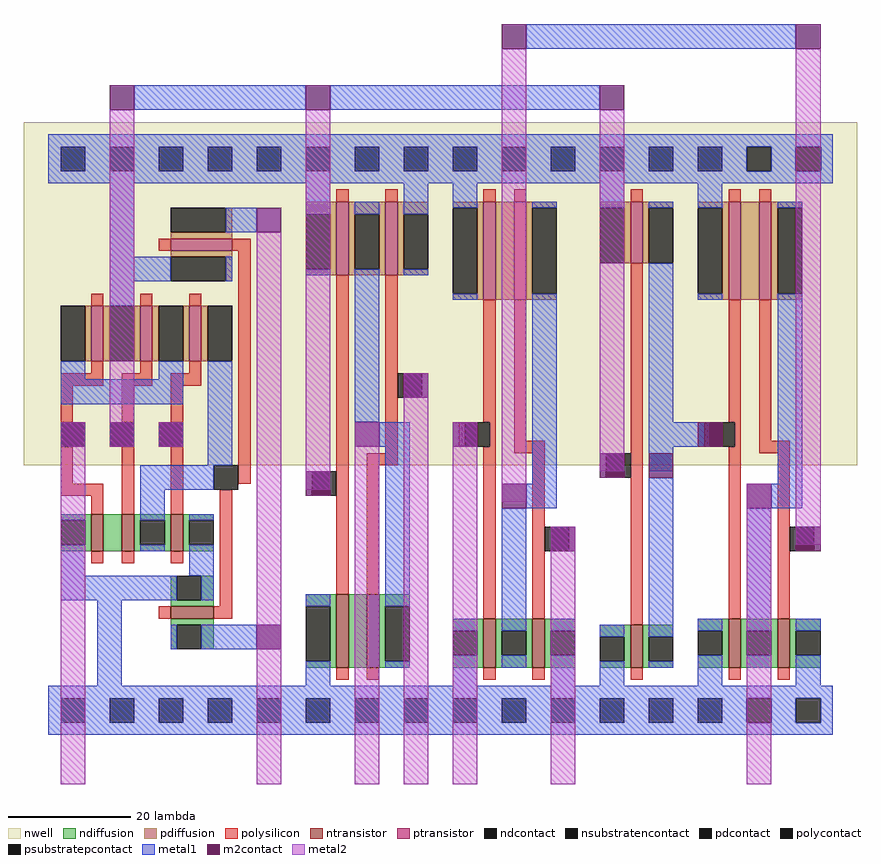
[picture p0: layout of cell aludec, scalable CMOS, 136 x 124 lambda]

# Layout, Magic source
magic
tech scmos
<< metal1 >>
rect 76 108 120 112
rect 12 98 40 102
rect 44 98 88 102
rect -2 86 110 94
rect 96 43 107 47
rect 96 39 100 43
rect -2 -4 110 4
<< m2contact >>
rect 72 108 76 112
rect 120 108 124 112
rect 8 98 12 102
rect 40 98 44 102
rect 88 98 92 102
<< metal2 >>
rect 0 -12 4 47
rect 8 43 12 98
rect 16 43 20 47
rect 32 -12 36 50
rect 40 36 44 98
rect 48 -12 52 47
rect 56 -12 60 55
rect 64 -12 68 47
rect 72 34 76 108
rect 88 39 92 98
rect 80 -12 84 30
rect 112 -12 116 37
rect 120 27 124 108
use a2o1_1x  a2o1_1x_0
transform 1 0 0 0 1 0
box -6 -4 42 96
use nand2_1x  nand2_1x_0
transform 1 0 40 0 1 0
box -6 -4 26 96
use nor2_1x  nor2_1x_0
transform 1 0 64 0 1 0
box -6 -4 26 96
use inv_1x  inv_1x_0
transform 1 0 88 0 1 0
box -6 -4 18 96
use nor2_1x  nor2_1x_1
transform 1 0 104 0 1 0
box -6 -4 26 96
<< end >>

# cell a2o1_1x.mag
magic
tech scmos
<< nwell >>
rect -6 40 42 96
<< ntransistor >>
rect 5 26 7 32
rect 10 26 12 32
rect 18 26 20 32
rect 18 15 25 17
<< ptransistor >>
rect 18 75 28 77
rect 5 57 7 66
rect 13 57 15 66
rect 21 57 23 66
<< ndiffusion >>
rect 0 31 5 32
rect 4 27 5 31
rect 0 26 5 27
rect 7 26 10 32
rect 12 31 18 32
rect 12 27 13 31
rect 17 27 18 31
rect 12 26 18 27
rect 20 31 25 32
rect 20 27 21 31
rect 20 26 25 27
rect 18 18 19 22
rect 23 18 25 22
rect 18 17 25 18
rect 18 14 25 15
rect 18 10 19 14
rect 23 10 25 14
<< pdiffusion >>
rect 27 78 28 82
rect 18 77 28 78
rect 18 74 28 75
rect 27 70 28 74
rect 4 57 5 66
rect 7 57 8 66
rect 12 57 13 66
rect 15 57 16 66
rect 20 57 21 66
rect 23 57 24 66
<< ndcontact >>
rect 0 27 4 31
rect 13 27 17 31
rect 21 27 25 31
rect 19 18 23 22
rect 19 10 23 14
<< pdcontact >>
rect 18 78 27 82
rect 18 70 27 74
rect 0 57 4 66
rect 8 57 12 66
rect 16 57 20 66
rect 24 57 28 66
<< psubstratepcontact >>
rect 0 -2 4 2
rect 8 -2 12 2
rect 16 -2 20 2
rect 24 -2 28 2
rect 32 -2 36 2
<< nsubstratencontact >>
rect 0 88 4 92
rect 8 88 12 92
rect 16 88 20 92
rect 24 88 28 92
rect 32 88 36 92
<< polysilicon >>
rect 16 75 18 77
rect 28 75 31 77
rect 5 66 7 68
rect 13 66 15 68
rect 21 66 23 68
rect 5 55 7 57
rect 13 55 15 57
rect 21 55 23 57
rect 0 53 7 55
rect 10 53 15 55
rect 18 53 23 55
rect 0 47 2 53
rect 10 47 12 53
rect 18 47 20 53
rect 0 37 2 43
rect 0 35 7 37
rect 5 32 7 35
rect 10 32 12 43
rect 18 32 20 43
rect 29 37 31 75
rect 5 24 7 26
rect 10 24 12 26
rect 18 24 20 26
rect 26 17 28 36
rect 16 15 18 17
rect 25 15 28 17
<< polycontact >>
rect 0 43 4 47
rect 8 43 12 47
rect 16 43 20 47
rect 25 36 29 40
<< metal1 >>
rect -2 92 38 94
rect -2 88 0 92
rect 4 88 8 92
rect 12 88 16 92
rect 20 88 24 92
rect 28 88 32 92
rect 36 88 38 92
rect -2 86 38 88
rect 8 74 12 86
rect 27 78 32 82
rect 8 70 18 74
rect 27 70 28 74
rect 8 66 12 70
rect 0 54 4 57
rect 16 54 20 57
rect 0 50 20 54
rect 24 40 28 57
rect 13 36 25 40
rect 0 31 4 32
rect 0 22 4 27
rect 13 31 17 36
rect 13 26 17 27
rect 21 31 25 32
rect 21 22 25 27
rect 0 18 19 22
rect 23 18 25 22
rect 6 4 10 18
rect 18 10 19 14
rect 23 10 32 14
rect -2 2 38 4
rect -2 -2 0 2
rect 4 -2 8 2
rect 12 -2 16 2
rect 20 -2 24 2
rect 28 -2 32 2
rect 36 -2 38 2
rect -2 -4 38 -2
<< m2contact >>
rect 32 78 36 82
rect 0 43 4 47
rect 8 43 12 47
rect 16 43 20 47
rect 32 10 36 14
<< metal2 >>
rect 32 14 36 78
<< labels >>
rlabel metal1 -1 0 -1 0 2 Gnd!
rlabel metal1 -1 90 -1 90 3 Vdd!
rlabel metal2 34 47 34 47 1 y
rlabel m2contact 18 45 18 45 1 c
rlabel m2contact 10 45 10 45 1 b
rlabel m2contact 2 45 2 45 1 a
<< end >>

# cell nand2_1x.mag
magic
tech scmos
<< nwell >>
rect -6 40 26 96
<< ntransistor >>
rect 5 7 7 19
rect 10 7 12 19
<< ptransistor >>
rect 5 71 7 83
rect 13 71 15 83
<< ndiffusion >>
rect 0 17 5 19
rect 4 8 5 17
rect 0 7 5 8
rect 7 7 10 19
rect 12 17 17 19
rect 12 8 13 17
rect 12 7 17 8
<< pdiffusion >>
rect 0 81 5 83
rect 4 72 5 81
rect 0 71 5 72
rect 7 81 13 83
rect 7 72 8 81
rect 12 72 13 81
rect 7 71 13 72
rect 15 81 20 83
rect 15 72 16 81
rect 15 71 20 72
<< ndcontact >>
rect 0 8 4 17
rect 13 8 17 17
<< pdcontact >>
rect 0 72 4 81
rect 8 72 12 81
rect 16 72 20 81
<< psubstratepcontact >>
rect 0 -2 4 2
rect 8 -2 12 2
rect 16 -2 20 2
<< nsubstratencontact >>
rect 0 88 4 92
rect 8 88 12 92
rect 16 88 20 92
<< polysilicon >>
rect 5 83 7 85
rect 13 83 15 85
rect 5 19 7 71
rect 13 42 15 71
rect 10 40 15 42
rect 10 19 12 40
rect 5 5 7 7
rect 10 5 12 7
<< polycontact >>
rect 1 35 5 39
rect 15 51 19 55
<< metal1 >>
rect -2 92 22 94
rect -2 88 0 92
rect 4 88 8 92
rect 12 88 16 92
rect 20 88 22 92
rect -2 86 22 88
rect 0 81 4 86
rect 0 71 4 72
rect 8 81 12 83
rect 8 47 12 72
rect 16 81 20 86
rect 16 71 20 72
rect 12 43 17 47
rect 0 17 4 19
rect 0 4 4 8
rect 13 17 17 43
rect 13 7 17 8
rect -2 2 22 4
rect -2 -2 0 2
rect 4 -2 8 2
rect 12 -2 16 2
rect 20 -2 22 2
rect -2 -4 22 -2
<< m2contact >>
rect 16 51 19 55
rect 19 51 20 55
rect 8 43 12 47
rect 0 35 1 39
rect 1 35 4 39
<< labels >>
rlabel m2contact 1 37 1 37 1 A
rlabel m2contact 10 45 10 45 1 Y
rlabel m2contact 18 53 18 53 1 b
rlabel metal1 -1 90 -1 90 3 Vdd!
rlabel metal1 -1 0 -1 0 3 Gnd!
<< end >>

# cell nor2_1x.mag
magic
tech scmos
<< nwell >>
rect -6 40 26 96
<< ntransistor >>
rect 5 7 7 15
rect 13 7 15 15
<< ptransistor >>
rect 5 67 7 83
rect 10 67 12 83
<< ndiffusion >>
rect 0 13 5 15
rect 4 9 5 13
rect 0 7 5 9
rect 7 13 13 15
rect 7 9 8 13
rect 12 9 13 13
rect 7 7 13 9
rect 15 13 20 15
rect 15 9 16 13
rect 15 7 20 9
<< pdiffusion >>
rect 0 82 5 83
rect 4 68 5 82
rect 0 67 5 68
rect 7 67 10 83
rect 12 82 17 83
rect 12 68 13 82
rect 12 67 17 68
<< ndcontact >>
rect 0 9 4 13
rect 8 9 12 13
rect 16 9 20 13
<< pdcontact >>
rect 0 68 4 82
rect 13 68 17 82
<< psubstratepcontact >>
rect 0 -2 4 2
rect 8 -2 12 2
rect 16 -2 20 2
<< nsubstratencontact >>
rect 0 88 4 92
rect 8 88 12 92
rect 16 88 20 92
<< polysilicon >>
rect 5 83 7 85
rect 10 83 12 85
rect 5 47 7 67
rect 1 43 2 47
rect 6 43 7 47
rect 5 15 7 43
rect 10 44 12 67
rect 10 42 15 44
rect 13 15 15 42
rect 5 5 7 7
rect 13 5 15 7
<< polycontact >>
rect 2 43 6 47
rect 15 26 19 30
<< metal1 >>
rect -2 92 22 94
rect -2 88 0 92
rect 4 88 8 92
rect 12 88 16 92
rect 20 88 22 92
rect -2 86 22 88
rect 0 82 4 86
rect 0 67 4 68
rect 13 82 17 83
rect 13 37 17 68
rect 12 33 17 37
rect 0 13 4 15
rect 0 4 4 9
rect 8 13 12 33
rect 8 7 12 9
rect 16 13 20 15
rect 16 4 20 9
rect -2 2 22 4
rect -2 -2 0 2
rect 4 -2 8 2
rect 12 -2 16 2
rect 20 -2 22 2
rect -2 -4 22 -2
<< m2contact >>
rect 0 43 2 47
rect 2 43 4 47
rect 8 33 12 37
rect 16 26 19 30
rect 19 26 20 30
<< labels >>
rlabel m2contact 2 45 2 45 1 a
rlabel m2contact 10 35 10 35 1 y
rlabel m2contact 18 28 18 28 1 b
rlabel metal1 -1 90 -1 90 3 Vdd!
rlabel metal1 -1 0 -1 0 3 Gnd!
<< end >>

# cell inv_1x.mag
magic
tech scmos
<< nwell >>
rect -6 40 18 96
<< ntransistor >>
rect 5 7 7 14
<< ptransistor >>
rect 5 73 7 83
<< ndiffusion >>
rect 0 12 5 14
rect 4 8 5 12
rect 0 7 5 8
rect 7 12 12 14
rect 7 8 8 12
rect 7 7 12 8
<< pdiffusion >>
rect 0 82 5 83
rect 4 73 5 82
rect 7 82 12 83
rect 7 73 8 82
<< ndcontact >>
rect 0 8 4 12
rect 8 8 12 12
<< pdcontact >>
rect 0 73 4 82
rect 8 73 12 82
<< psubstratepcontact >>
rect 0 -2 4 2
rect 8 -2 12 2
<< nsubstratencontact >>
rect 0 88 4 92
rect 8 88 12 92
<< polysilicon >>
rect 5 83 7 85
rect 5 14 7 73
rect 5 5 7 7
<< polycontact >>
rect 1 38 5 42
<< metal1 >>
rect -2 92 14 94
rect -2 88 0 92
rect 4 88 8 92
rect 12 88 14 92
rect -2 86 14 88
rect 0 82 4 86
rect 8 82 12 83
rect 8 42 12 73
rect 0 12 4 14
rect 0 4 4 8
rect 8 12 12 38
rect 8 7 12 8
rect -2 2 14 4
rect -2 -2 0 2
rect 4 -2 8 2
rect 12 -2 14 2
rect -2 -4 14 -2
<< m2contact >>
rect 0 38 1 42
rect 1 38 4 42
rect 8 38 12 42
<< labels >>
rlabel m2contact 1 40 1 40 1 a
rlabel m2contact 10 40 10 40 1 y
rlabel metal1 -1 0 -1 0 3 Gnd!
rlabel metal1 -1 90 -1 90 3 Vdd!
<< end >>
